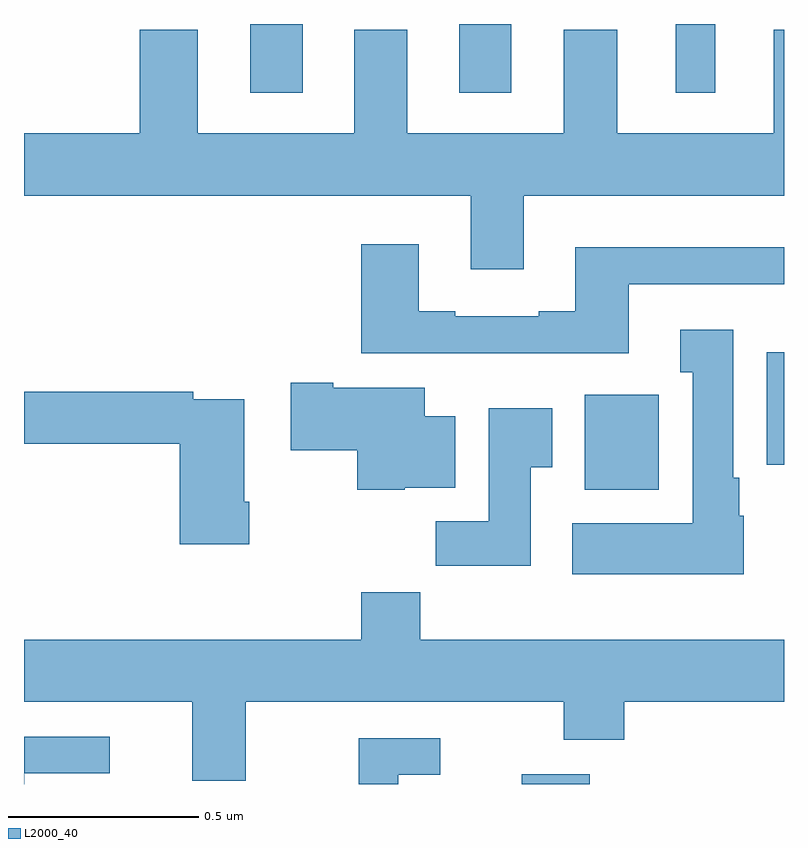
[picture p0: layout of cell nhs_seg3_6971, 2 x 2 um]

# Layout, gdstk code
import gdstk
lib = gdstk.Library(unit=1e-6, precision=1e-09)
def R(c, l, rs):  # rectangles x0, y0, x1, y1
    for r in rs: c.add(gdstk.rectangle(r[:2], r[2:], *l))
def P(c, l, *ps):  # polygons
    for p in ps: c.add(gdstk.Polygon(p, *l))
L2000_40 = (2000, 40)

nhs_seg3_6971 = lib.new_cell('nhs_seg3_6971')
R(nhs_seg3_6971, L2000_40, [(199.31,667.4,199.489,667.426), (199.475,668.174,199.671,668.425), (199.955,668.24,200,668.536), (198.596,669.219,198.733,669.4), (199.145,669.219,199.282,669.4), (199.715,669.219,199.819,669.4)])
P(nhs_seg3_6971, L2000_40, [(199.315,668.948),(200,668.948),(200,669.385),(199.973,669.385),(199.973,669.112),(199.561,669.112),(199.561,669.385),(199.421,669.385),(199.421,669.112),(199.009,669.112),(199.009,669.385),(198.869,669.385),(198.869,669.112),(198.457,669.112),(198.457,669.385),(198.305,669.385),(198.305,669.112),(198,669.112),(198,668.948),(199.175,668.948),(199.175,668.754),(199.315,668.754)],
  [(199.591,668.715),(200,668.715),(200,668.812),(199.451,668.812),(199.451,668.644),(199.355,668.644),(199.355,668.631),(199.135,668.631),(199.135,668.644),(199.039,668.644),(199.039,668.821),(198.887,668.821),(198.887,668.534),(199.591,668.534)],
  [(199.894,668.106),(199.882,668.106),(199.882,668.206),(199.867,668.206),(199.867,668.596),(199.727,668.596),(199.727,668.483),(199.76,668.483),(199.76,668.086),(199.443,668.086),(199.443,667.952),(199.894,667.952)],
  [(199.002,668.18),(199.135,668.18),(199.135,668.368),(199.054,668.368),(199.054,668.443),(198.814,668.443),(198.814,668.456),(198.702,668.456),(198.702,668.278),(198.877,668.278),(198.877,668.174),(199.002,668.174)],
  [(198.593,668.143),(198.58,668.143),(198.58,668.412),(198.446,668.412),(198.446,668.432),(198,668.432),(198,668.296),(198.41,668.296),(198.41,668.031),(198.593,668.031)],
  [(199.333,668.233),(199.39,668.233),(199.39,668.389),(199.223,668.389),(199.223,668.092),(199.084,668.092),(199.084,667.974),(199.333,667.974)],
  [(198.583,667.616),(199.42,667.616),(199.42,667.517),(199.58,667.517),(199.58,667.616),(200,667.616),(200,667.78),(199.043,667.78),(199.043,667.904),(198.887,667.904),(198.887,667.78),(198,667.78),(198,667.616),(198.443,667.616),(198.443,667.408),(198.583,667.408)],
  [(198.001,667.428),(198.226,667.428),(198.226,667.524),(198,667.524),(198,667.4),(198.001,667.4)],
  [(198.985,667.425),(199.096,667.425),(199.096,667.521),(198.881,667.521),(198.881,667.4),(198.985,667.4)])

lib.write_gds('nhs_seg3_6971.gds')
